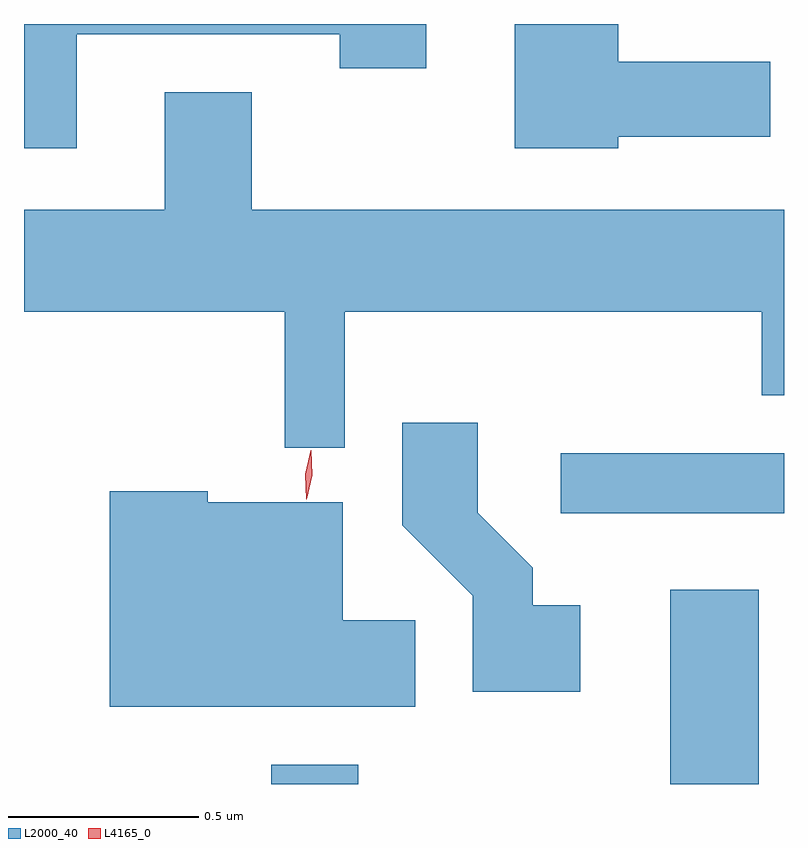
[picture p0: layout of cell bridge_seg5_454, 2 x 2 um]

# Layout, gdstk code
import gdstk
lib = gdstk.Library(unit=1e-6, precision=1e-09)
def R(c, l, rs):  # rectangles x0, y0, x1, y1
    for r in rs: c.add(gdstk.rectangle(r[:2], r[2:], *l))
def P(c, l, *ps):  # polygons
    for p in ps: c.add(gdstk.Polygon(p, *l))
L2000_40 = (2000, 40)
L4165_0 = (4165, 0)

bridge_seg5_454 = lib.new_cell('bridge_seg5_454')
R(bridge_seg5_454, L2000_40, [(220.871,1515.493,221.099,1515.544), (221.921,1515.493,222.154,1516.004), (221.633,1516.206,222.22,1516.364)])
P(bridge_seg5_454, L2000_40, [(220.359,1517.466),(221.051,1517.466),(221.051,1517.376),(221.279,1517.376),(221.279,1517.493),(220.22,1517.493),(220.22,1517.166),(220.359,1517.166)],
  [(221.784,1517.196),(222.184,1517.196),(222.184,1517.394),(221.784,1517.394),(221.784,1517.493),(221.511,1517.493),(221.511,1517.166),(221.784,1517.166)],
  [(221.064,1516.736),(222.161,1516.736),(222.161,1516.516),(222.22,1516.516),(222.22,1517.004),(220.819,1517.004),(220.819,1517.314),(220.591,1517.314),(220.591,1517.004),(220.22,1517.004),(220.22,1516.736),(220.906,1516.736),(220.906,1516.378),(221.064,1516.378)],
  [(221.684,1515.964),(221.559,1515.964),(221.559,1516.062),(221.414,1516.207),(221.414,1516.444),(221.216,1516.444),(221.216,1516.174),(221.401,1515.989),(221.401,1515.736),(221.684,1515.736)],
  [(221.249,1515.924),(221.059,1515.924),(221.059,1516.234),(220.704,1516.234),(220.704,1516.264),(220.446,1516.264),(220.446,1515.696),(221.249,1515.696)])
P(bridge_seg5_454, L4165_0, [(220.963,1516.243),(220.963,1516.243),(220.96,1516.308),(220.975,1516.371),(220.976,1516.371),(220.976,1516.371),(220.979,1516.306),(220.964,1516.243)])

lib.write_gds('bridge_seg5_454.gds')
